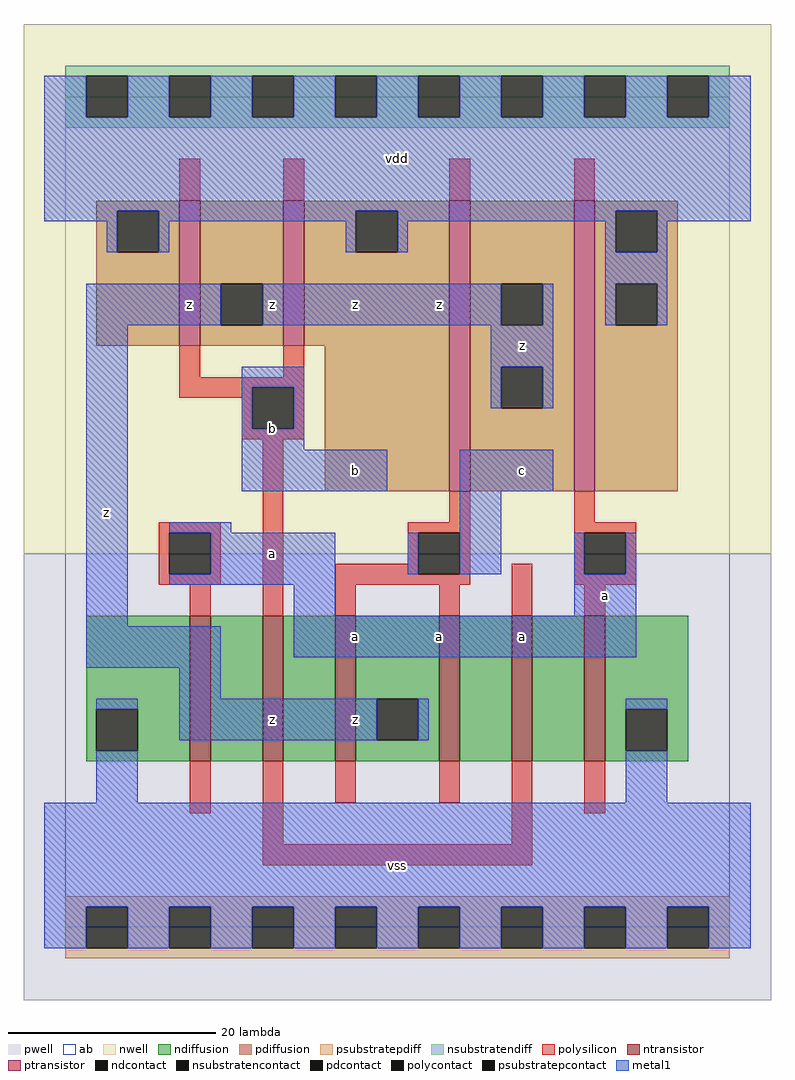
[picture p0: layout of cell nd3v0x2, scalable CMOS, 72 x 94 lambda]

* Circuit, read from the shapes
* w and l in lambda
.subckt nd3v0x2 a b c vdd vss z
M1 n1 a vss vss nfet w=14 l=2
M2 n2 b n1 vss nfet w=14 l=2
M3 z c n2 vss nfet w=14 l=2
M4 n3 c z vss nfet w=14 l=2
M5 n4 b n3 vss nfet w=14 l=2
M6 vss a n4 vss nfet w=14 l=2
M7 z b vdd vdd pfet w=14 l=2 m=2
M8 z c vdd vdd pfet w=28 l=2
M9 vdd a z vdd pfet w=28 l=2
.ends

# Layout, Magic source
magic
tech scmos
<< ab >>
rect 0 0 64 80
<< pwell >>
rect -4 -7 68 36
<< nwell >>
rect -4 36 68 87
<< polysilicon >>
rect 11 70 13 74
rect 21 70 23 74
rect 37 70 39 74
rect 49 70 51 74
rect 11 53 13 56
rect 21 53 23 56
rect 11 52 23 53
rect 11 51 18 52
rect 17 48 18 51
rect 22 48 23 52
rect 17 47 23 48
rect 9 38 15 39
rect 9 34 10 38
rect 14 34 15 38
rect 9 33 15 34
rect 12 30 14 33
rect 19 30 21 47
rect 37 39 39 42
rect 33 38 39 39
rect 33 35 34 38
rect 26 34 34 35
rect 38 34 39 38
rect 49 39 51 42
rect 49 38 55 39
rect 26 33 39 34
rect 26 30 28 33
rect 36 30 38 33
rect 43 30 45 35
rect 49 34 50 38
rect 54 34 55 38
rect 49 33 55 34
rect 50 30 52 33
rect 12 11 14 16
rect 19 8 21 16
rect 26 12 28 16
rect 36 12 38 16
rect 43 8 45 16
rect 50 11 52 16
rect 19 6 45 8
<< ndiffusion >>
rect 2 21 12 30
rect 2 17 3 21
rect 7 17 12 21
rect 2 16 12 17
rect 14 16 19 30
rect 21 16 26 30
rect 28 22 36 30
rect 28 18 30 22
rect 34 18 36 22
rect 28 16 36 18
rect 38 16 43 30
rect 45 16 50 30
rect 52 21 60 30
rect 52 17 54 21
rect 58 17 60 21
rect 52 16 60 17
<< pdiffusion >>
rect 3 69 11 70
rect 3 65 5 69
rect 9 65 11 69
rect 3 56 11 65
rect 13 62 21 70
rect 13 58 15 62
rect 19 58 21 62
rect 13 56 21 58
rect 23 69 37 70
rect 23 65 28 69
rect 32 65 37 69
rect 23 56 37 65
rect 25 42 37 56
rect 39 62 49 70
rect 39 58 42 62
rect 46 58 49 62
rect 39 54 49 58
rect 39 50 42 54
rect 46 50 49 54
rect 39 42 49 50
rect 51 69 59 70
rect 51 65 53 69
rect 57 65 59 69
rect 51 62 59 65
rect 51 58 53 62
rect 57 58 59 62
rect 51 42 59 58
<< metal1 >>
rect -2 78 2 82
rect 6 78 10 82
rect 14 78 18 82
rect 22 78 26 82
rect 30 78 34 82
rect 38 78 42 82
rect 46 78 50 82
rect 54 78 58 82
rect 62 78 66 82
rect -2 69 66 78
rect -2 68 5 69
rect 4 65 5 68
rect 9 68 28 69
rect 9 65 10 68
rect 27 65 28 68
rect 32 68 53 69
rect 32 65 33 68
rect 52 65 53 68
rect 57 68 66 69
rect 57 65 58 68
rect 52 62 58 65
rect 2 58 15 62
rect 19 58 42 62
rect 46 58 47 62
rect 52 58 53 62
rect 57 58 58 62
rect 2 29 6 58
rect 41 54 47 58
rect 17 52 23 54
rect 17 48 18 52
rect 22 48 23 52
rect 41 50 42 54
rect 46 50 47 54
rect 17 46 23 48
rect 17 42 31 46
rect 38 42 47 46
rect 10 38 16 39
rect 14 34 26 38
rect 33 34 34 38
rect 38 34 42 42
rect 49 34 50 38
rect 54 34 55 38
rect 10 33 26 34
rect 22 30 26 33
rect 49 30 55 34
rect 2 25 15 29
rect 22 26 55 30
rect 11 22 15 25
rect 3 21 7 22
rect 11 18 30 22
rect 34 18 35 22
rect 54 21 58 22
rect 3 12 7 17
rect 54 12 58 17
rect -2 2 66 12
rect -2 -2 2 2
rect 6 -2 10 2
rect 14 -2 18 2
rect 22 -2 26 2
rect 30 -2 34 2
rect 38 -2 42 2
rect 46 -2 50 2
rect 54 -2 58 2
rect 62 -2 66 2
<< ntransistor >>
rect 12 16 14 30
rect 19 16 21 30
rect 26 16 28 30
rect 36 16 38 30
rect 43 16 45 30
rect 50 16 52 30
<< ptransistor >>
rect 11 56 13 70
rect 21 56 23 70
rect 37 42 39 70
rect 49 42 51 70
<< polycontact >>
rect 18 48 22 52
rect 10 34 14 38
rect 34 34 38 38
rect 50 34 54 38
<< ndcontact >>
rect 3 17 7 21
rect 30 18 34 22
rect 54 17 58 21
<< pdcontact >>
rect 5 65 9 69
rect 15 58 19 62
rect 28 65 32 69
rect 42 58 46 62
rect 42 50 46 54
rect 53 65 57 69
rect 53 58 57 62
<< psubstratepcontact >>
rect 2 -2 6 2
rect 10 -2 14 2
rect 18 -2 22 2
rect 26 -2 30 2
rect 34 -2 38 2
rect 42 -2 46 2
rect 50 -2 54 2
rect 58 -2 62 2
<< nsubstratencontact >>
rect 2 78 6 82
rect 10 78 14 82
rect 18 78 22 82
rect 26 78 30 82
rect 34 78 38 82
rect 42 78 46 82
rect 50 78 54 82
rect 58 78 62 82
<< psubstratepdiff >>
rect 0 2 64 3
rect 0 -2 2 2
rect 6 -2 10 2
rect 14 -2 18 2
rect 22 -2 26 2
rect 30 -2 34 2
rect 38 -2 42 2
rect 46 -2 50 2
rect 54 -2 58 2
rect 62 -2 64 2
rect 0 -3 64 -2
<< nsubstratendiff >>
rect 0 82 64 83
rect 0 78 2 82
rect 6 78 10 82
rect 14 78 18 82
rect 22 78 26 82
rect 30 78 34 82
rect 38 78 42 82
rect 46 78 50 82
rect 54 78 58 82
rect 62 78 64 82
rect 0 77 64 78
<< labels >>
rlabel metal1 4 40 4 40 6 z
rlabel metal1 20 20 20 20 6 z
rlabel metal1 20 36 20 36 6 a
rlabel metal1 20 48 20 48 6 b
rlabel metal1 12 60 12 60 6 z
rlabel metal1 20 60 20 60 6 z
rlabel metal1 32 6 32 6 6 vss
rlabel metal1 28 20 28 20 6 z
rlabel metal1 28 28 28 28 6 a
rlabel metal1 36 28 36 28 6 a
rlabel metal1 28 44 28 44 6 b
rlabel metal1 28 60 28 60 6 z
rlabel metal1 36 60 36 60 6 z
rlabel metal1 32 74 32 74 6 vdd
rlabel metal1 44 28 44 28 6 a
rlabel metal1 44 44 44 44 6 c
rlabel metal1 44 56 44 56 6 z
rlabel metal1 52 32 52 32 6 a
<< end >>
